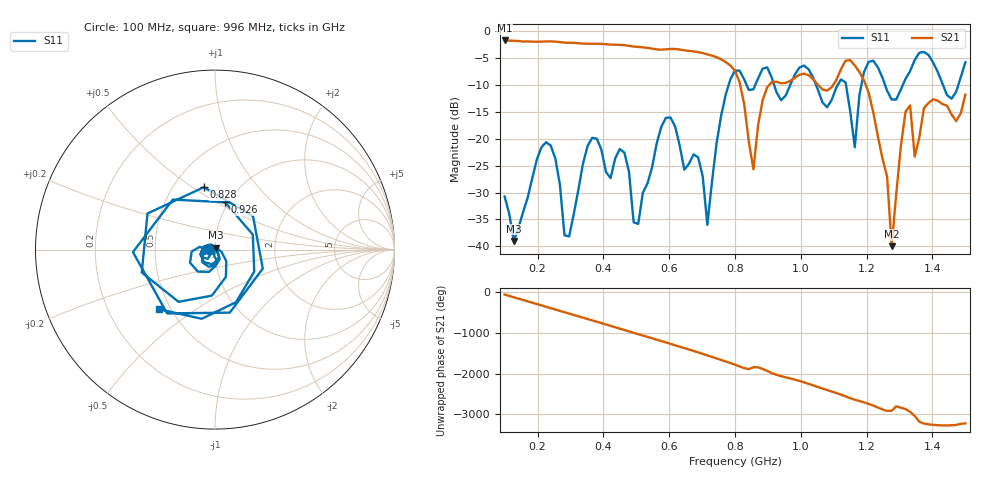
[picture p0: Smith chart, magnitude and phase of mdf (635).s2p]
! NanoVNA-App
! Date: 2025-09-25 15:43:21
! Start: 100MHz Stop: 1,5GHz Points: 101
! S-Parameter data: F S11 S21 S12 S22
# Hz S RI R 50
!  Frequency  S11_Real  S11_Imag  S21_Real  S21_Imag  S12_Real  S12_Imag  S22_Real  S22_Imag
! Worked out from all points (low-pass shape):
!   101 points, 100 MHz to 1.5 GHz, reference 50 ohm
!   highest |S21| = -1.80 dB at 100 MHz (marker M1); lowest = -40.0 dB at 1.276 GHz (marker M2)
!   |S21| within 3 dB of the highest: start of sweep to 739.4 MHz
!   lowest |S11| = -39.0 dB at 128 MHz (marker M3), VSWR 1.02, Z = 50.3 + j1.07 ohm
!   |S11| at or under -10 dB: start of sweep to 781 MHz; 918.6 MHz to 968.1 MHz (49.5 MHz wide, 5.25 % of centre); 1.046 GHz to 1.113 GHz (67 MHz wide, 6.21 % of centre) (the widest 3 of 7)
!   S12 and S22 are empty: the file has one direction only
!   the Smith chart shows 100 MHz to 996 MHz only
!   S11 on the Smith chart (normalised r, x): 100 MHz: 0.94, -0.01; 828 MHz: 0.70, +0.56; 926 MHz: 0.96, +0.55; 996 MHz: 0.43, -0.36
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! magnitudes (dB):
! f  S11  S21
! 100 MHz  -30.7  -1.8
! 128 MHz  -39.0  -1.9
! 212 MHz  -21.6  -2.0
! 282 MHz  -37.9  -2.2
! 338 MHz  -24.7  -2.4
! 464 MHz  -22.6  -2.7
! 506 MHz  -35.8  -3.0
! 576 MHz  -17.8  -3.5
! 688 MHz  -23.5  -4.0
! 716 MHz  -36.0  -4.4
! 800 MHz  -7.4  -7.4
! 828 MHz  -9.0  -13.6
! 856 MHz  -10.9  -25.7
! 926 MHz  -11.4  -9.4
! 996 MHz  -6.8  -8.2
! 1.038 GHz  -8.8  -9.1
! 1.136 GHz  -9.6  -5.6
! 1.164 GHz  -21.6  -6.4
! 1.192 GHz  -7.6  -9.2
! 1.276 GHz  -12.8  -40.0
! 1.318 GHz  -8.9  -15.0
! 1.5 GHz  -5.8  -11.9
